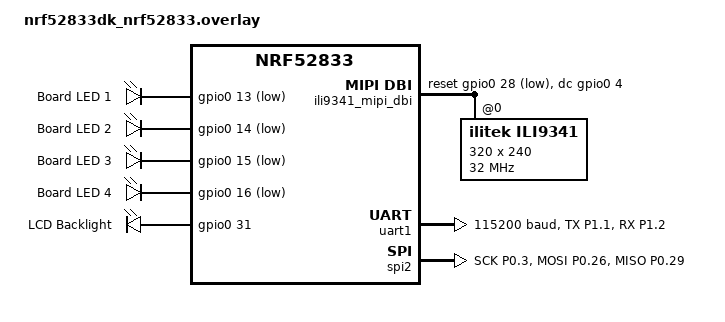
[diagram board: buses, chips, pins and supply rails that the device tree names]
/* boards/nrf52833dk_nrf52833.overlay */
#include <zephyr/dt-bindings/pinctrl/nrf-pinctrl.h>
#include <zephyr/dt-bindings/display/ili9xxx.h>
/ {
    leds {
        compatible = "gpio-leds";
        board_led_1: board_led_p0_13 {
            gpios = <&gpio0 13 GPIO_ACTIVE_LOW>;
            label = "Board LED 1";
        };

        board_led_2: board_led_p0_14 {
            gpios = <&gpio0 14 GPIO_ACTIVE_LOW>;
            label = "Board LED 2";
        };

        board_led_3: board_led_p0_15 {
            gpios = <&gpio0 15 GPIO_ACTIVE_LOW>;
            label = "Board LED 3";
        };

        board_led_4: board_led_p0_16 {
            gpios = <&gpio0 16 GPIO_ACTIVE_LOW>;
            label = "Board LED 4";
        };
    };

    /* LCD backlight control, driven through an external MOSFET gate on P0.31.
     * Reuses the gpio-leds binding since the backlight is a simple on/off
     * (or PWM-capable) GPIO output, consistent with hardware/package_led. */
    lcd_backlight_gpio: lcd_backlight_p0_31 {
        compatible = "gpio-leds";
        backlight_pin: backlight_p0_31 {
            gpios = <&gpio0 31 GPIO_ACTIVE_HIGH>;
            label = "LCD Backlight";
        };
    };

    aliases {
        led1 = &board_led_1;
        led2 = &board_led_2;
        led3 = &board_led_3;
        led4 = &board_led_4;
        lcd-backlight = &backlight_pin;
    };
};

/* spi1 defaults to "okay" on this board and claims SCK=P0.31, which we need
 * for the LCD backlight control pin. Disable it since this project does not
 * use spi1, freeing P0.31 for GPIO use. */
&spi1 {
    status = "disabled";
};

&pinctrl {
    uart1_default: uart1_default {
        group1 {
            psels = <NRF_PSEL(UART_TX, 1, 1)>,
                    <NRF_PSEL(UART_RX, 1, 2)>;
        };
    };

    uart1_sleep: uart1_sleep {
        group1 {
            psels = <NRF_PSEL(UART_TX, 1, 1)>,
                    <NRF_PSEL(UART_RX, 1, 2)>;
            low-power-enable;
        };
    };

    /* spi2 pins for the ILI9341 LCD (unused elsewhere on this board) */
    spi2_default: spi2_default {
        group1 {
            psels = <NRF_PSEL(SPIM_SCK, 0, 3)>,
                    <NRF_PSEL(SPIM_MOSI, 0, 26)>,
                    <NRF_PSEL(SPIM_MISO, 0, 29)>;
        };
    };

    spi2_sleep: spi2_sleep {
        group1 {
            psels = <NRF_PSEL(SPIM_SCK, 0, 3)>,
                    <NRF_PSEL(SPIM_MOSI, 0, 26)>,
                    <NRF_PSEL(SPIM_MISO, 0, 29)>;
            low-power-enable;
        };
    };
};

&uart1 {
    status = "okay";
    current-speed = <115200>;
    pinctrl-0 = <&uart1_default>;
    pinctrl-1 = <&uart1_sleep>;
    pinctrl-names = "default", "sleep";
};

/* spi2 carries the ILI9341 LCD. CS(CSX)=P0.27 is a normal SPI chip-select on
 * the bus itself; DC/RESET are plain GPIOs managed by the mipi-dbi wrapper. */
&spi2 {
    status = "okay";
    cs-gpios = <&gpio0 27 GPIO_ACTIVE_LOW>;
    pinctrl-0 = <&spi2_default>;
    pinctrl-1 = <&spi2_sleep>;
    pinctrl-names = "default", "sleep";
};

/ {
    /* ILI9341 LCD over spi2, using the MIPI-DBI (Mode C) abstraction:
     * DC(DCX)=P0.04, RESET(/RES)=P0.28. IM0/IM1/IM2 are hardwired on the
     * panel to select 4-wire SPI mode, so no MCU pins are needed for them. */
    ili9341_mipi_dbi: ili9341_mipi_dbi {
        compatible = "zephyr,mipi-dbi-spi";
        spi-dev = <&spi2>;
        dc-gpios = <&gpio0 4 GPIO_ACTIVE_HIGH>;
        reset-gpios = <&gpio0 28 GPIO_ACTIVE_LOW>;
        #address-cells = <1>;
        #size-cells = <0>;

        ili9341: ili9341@0 {
            compatible = "ilitek,ili9341";
            reg = <0>;
            mipi-max-frequency = <32000000>;
            width = <320>;
            height = <240>;
            rotation = <90>;
            pixel-format = <ILI9XXX_PIXEL_FORMAT_RGB565>;
            /* Previous attempt toggled DISCTRL's SS bit (0xa2), which did
             * not correct the left-right mirror. Revert SS to its default
             * and instead toggle the GS (gate/row scan order) bit — this
             * flips the horizontal axis without touching vertical/rotation. */
            disctrl = [0a c2 27 04];
        };
    };

    chosen {
        zephyr,display = &ili9341;
    };
};
